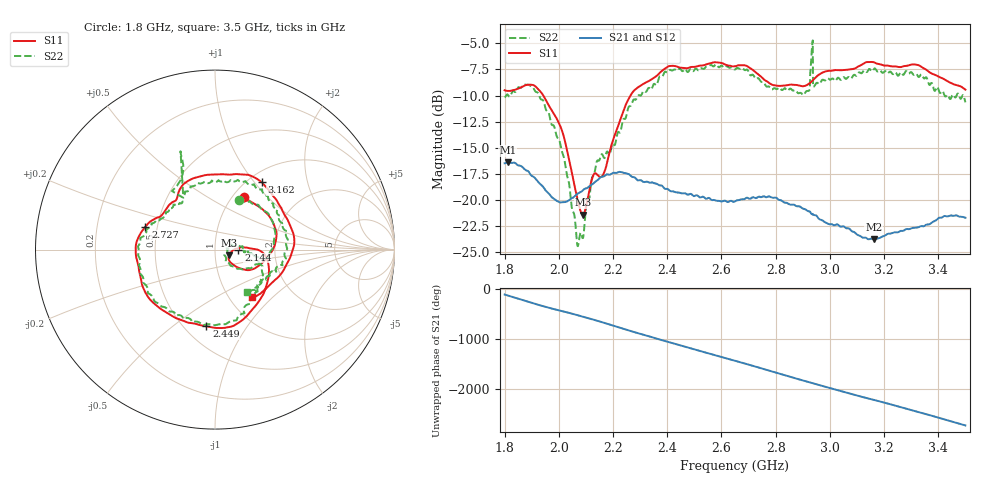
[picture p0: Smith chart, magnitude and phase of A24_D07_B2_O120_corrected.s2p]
! Created with skrf 1.9.0 (http://scikit-rf.org).
# Hz S RI R 50.0
!freq ReS11 ImS11 ReS21 ImS21 ReS12 ImS12 ReS22 ImS22
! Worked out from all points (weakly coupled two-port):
!   1601 points, 1.8 GHz to 3.5 GHz, reference 50 ohm
!   highest |S21| = -16.39 dB at 1.812 GHz (marker M1); lowest = -23.8 dB at 3.162 GHz (marker M2)
!   lowest |S11| = -21.4 dB at 2.089 GHz (marker M3), VSWR 1.19, Z = 58.4 - j3.71 ohm
!   |S11| at or under -10 dB: 1.943 GHz to 2.264 GHz (321.4 MHz wide, 15.3 % of centre)
!   |S22| runs from -24.4 to -4.7 dB; largest |S21 - S12| = 0.0029
!   S11 on the Smith chart (normalised r, x): 1.8 GHz: 1.12, +0.74; 2.144 GHz: 1.30, +0.00; 2.449 GHz: 0.64, -0.67; 2.727 GHz: 0.43, +0.13; 3.162 GHz: 1.15, +1.09; 3.5 GHz: 1.27, -0.76
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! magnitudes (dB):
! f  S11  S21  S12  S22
! 1.8 GHz  -9.5  -16.5  -16.5  -10.2
! 1.812 GHz  -9.6  -16.4  -16.4  -9.9
! 1.881 GHz  -9.0  -17.2  -17.2  -9.0
! 1.942 GHz  -10.0  -18.8  -18.8  -10.5
! 2.013 GHz  -13.4  -20.2  -20.2  -15.4
! 2.067 GHz  -19.7  -19.5  -19.5  -24.1
! 2.084 GHz  -21.3  -19.2  -19.2  -23.3
! 2.089 GHz  -21.4  -19.1  -19.1  -23.7
! 2.125 GHz  -17.8  -18.5  -18.5  -17.7
! 2.144 GHz  -17.7  -18.1  -18.1  -16.2
! 2.168 GHz  -17.3  -17.7  -17.7  -16.0
! 2.264 GHz  -10.0  -17.7  -17.7  -11.0
! 2.367 GHz  -8.0  -18.5  -18.5  -8.5
! 2.449 GHz  -7.3  -19.3  -19.3  -7.5
! 2.65 GHz  -7.2  -20.1  -20.1  -7.5
! 2.727 GHz  -7.8  -19.8  -19.8  -8.4
! 2.901 GHz  -9.1  -20.8  -20.9  -9.9
! 2.934 GHz  -8.6  -21.4  -21.4  -5.5
! 2.946 GHz  -8.3  -21.5  -21.5  -8.9
! 3.162 GHz  -6.8  -23.8  -23.7  -7.5
! 3.217 GHz  -7.1  -23.2  -23.2  -7.8
! 3.5 GHz  -9.4  -21.7  -21.7  -10.7
